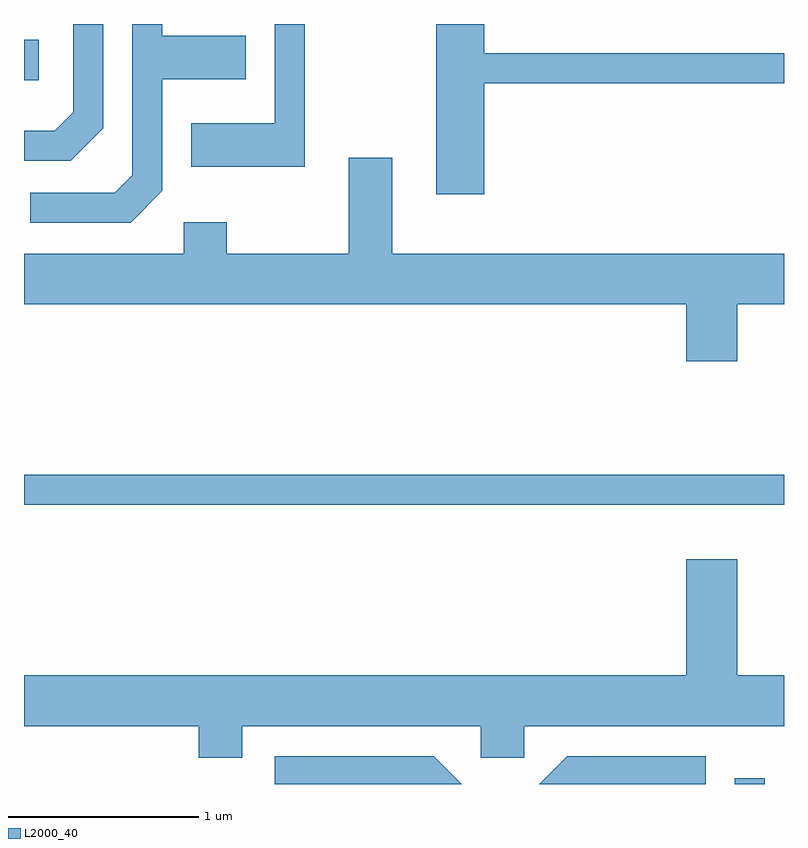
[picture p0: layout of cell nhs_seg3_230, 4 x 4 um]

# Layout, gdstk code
import gdstk
lib = gdstk.Library(unit=1e-6, precision=1e-09)
def R(c, l, rs):  # rectangles x0, y0, x1, y1
    for r in rs: c.add(gdstk.rectangle(r[:2], r[2:], *l))
def P(c, l, *ps):  # polygons
    for p in ps: c.add(gdstk.Polygon(p, *l))
L2000_40 = (2000, 40)

nhs_seg3_230 = lib.new_cell('nhs_seg3_230')
R(nhs_seg3_230, L2000_40, [(195.351,1167.892,195.509,1167.923), (191.611,1169.361,195.611,1169.519), (191.611,1171.596,191.689,1171.809)])
P(nhs_seg3_230, L2000_40, [(193.089,1171.892),(192.931,1171.892),(192.931,1171.369),(192.491,1171.369),(192.491,1171.141),(193.089,1171.141)],
  [(192.029,1171.344),(192.029,1171.892),(191.871,1171.892),(191.871,1171.427),(191.774,1171.329),(191.611,1171.329),(191.611,1171.171),(191.857,1171.171)],
  [(192.339,1171.014),(192.339,1171.601),(192.779,1171.601),(192.779,1171.829),(192.339,1171.829),(192.339,1171.892),(192.181,1171.892),(192.181,1171.097),(192.089,1171.004),(191.643,1171.004),(191.643,1170.846),(192.172,1170.846)],
  [(194.034,1171.581),(195.611,1171.581),(195.611,1171.739),(194.034,1171.739),(194.034,1171.892),(193.781,1171.892),(193.781,1170.996),(194.034,1170.996)],
  [(195.364,1170.416),(195.611,1170.416),(195.611,1170.684),(193.549,1170.684),(193.549,1171.189),(193.321,1171.189),(193.321,1170.684),(192.679,1170.684),(192.679,1170.849),(192.451,1170.849),(192.451,1170.684),(191.611,1170.684),(191.611,1170.416),(195.096,1170.416),(195.096,1170.116),(195.364,1170.116)],
  [(192.759,1168.196),(194.016,1168.196),(194.016,1168.031),(194.244,1168.031),(194.244,1168.196),(195.611,1168.196),(195.611,1168.464),(195.364,1168.464),(195.364,1169.074),(195.096,1169.074),(195.096,1168.464),(191.611,1168.464),(191.611,1168.196),(192.531,1168.196),(192.531,1168.031),(192.759,1168.031)],
  [(195.199,1168.039),(194.469,1168.039),(194.322,1167.892),(195.199,1167.892)],
  [(193.767,1168.039),(192.931,1168.039),(192.931,1167.892),(193.914,1167.892)])

lib.write_gds('nhs_seg3_230.gds')
